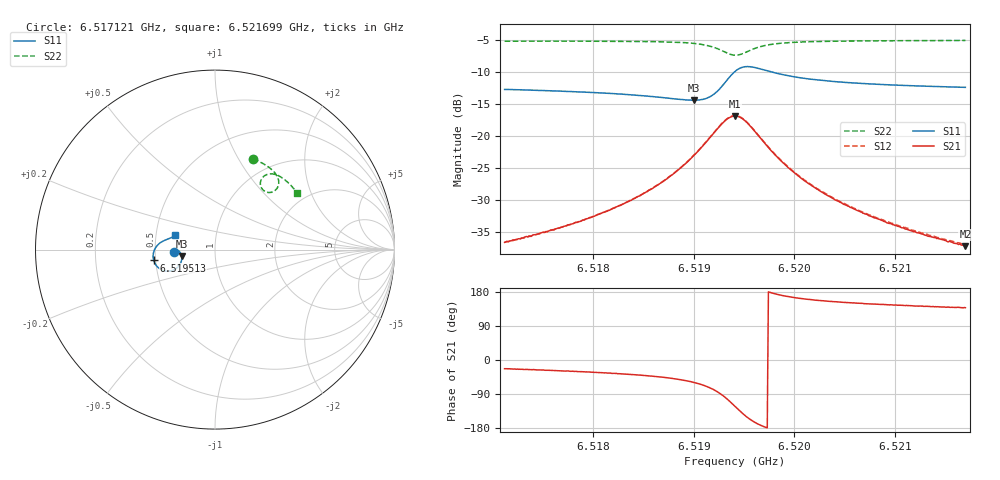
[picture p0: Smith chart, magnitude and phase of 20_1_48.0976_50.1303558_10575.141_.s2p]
#  HZ  S  RI  R  50.00
! Rohde & Schwarz Vector Network Analyzer
! Rohde-Schwarz,ZNB20-2Port,1311601062101988,3.16
! Created: UTC 12/23/2023, 3:36:34 AM
! freq[Hz]  re:S11  im:S11  re:S21  im:S21  re:S12  im:S12  re:S22  im:S22
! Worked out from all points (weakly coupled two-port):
!   401 points, 6.517121 GHz to 6.521699 GHz, reference 50 ohm
!   highest |S21| = -16.92 dB at 6.51941 GHz (marker M1); lowest = -37.3 dB at 6.521699 GHz (marker M2)
!   lowest |S11| = -14.5 dB at 6.518998 GHz (marker M3), VSWR 1.47, Z = 34.2 - j2.49 ohm
!   |S11| at or under -10 dB: start of sweep to 6.519406 GHz; 6.519767 GHz to end of sweep
!   |S22| runs from -7.4 to -5.1 dB; largest |S21 - S12| = 0.0042
!   S11 on the Smith chart (normalised r, x): 6.517121 GHz: 0.63, -0.02; 6.519513 GHz: 0.49, -0.07; 6.521699 GHz: 0.63, +0.10
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6.5171215e9  -0.2298 -0.0146  0.0135 -0.00572  0.0137 -0.00531  0.2127 0.5058
6.5174419e9  -0.2263 -0.01  0.0152 -0.00746  0.0154 -0.00688  0.2362 0.4957
6.5178882e9  -0.2197 -0.00497  0.0186 -0.0111  0.0189 -0.0106  0.2693 0.4786
6.5182888e9  -0.2114 -0.00342  0.0233 -0.0173  0.0238 -0.0165  0.2993 0.4589
6.5184719e9  -0.2062 -0.00491  0.0261 -0.0219  0.027 -0.0212  0.3134 0.4478
6.518655e9  -0.1999 -0.00882  0.0298 -0.0293  0.0307 -0.0284  0.3279 0.4341
6.5188381e9  -0.1924 -0.018  0.0339 -0.0413  0.0353 -0.0404  0.342 0.4158
6.5189983e9  -0.1861 -0.0351  0.036 -0.0596  0.0381 -0.0589  0.3527 0.3927
6.5191013e9  -0.1855 -0.0543  0.0331 -0.0783  0.0358 -0.0779  0.3553 0.3718
6.5191928e9  -0.1933 -0.0796  0.0226 -0.1009  0.0255 -0.1011  0.3495 0.3483
6.5193187e9  -0.2379 -0.1167  -0.023 -0.1303  -0.0195 -0.132  0.3148 0.3194
6.5194103e9  -0.2977 -0.1126  -0.0763 -0.1205  -0.0735 -0.1236  0.273 0.3277
6.519456e9  -0.3235 -0.0932  -0.0972 -0.1007  -0.0951 -0.1041  0.2583 0.3446
6.5195132e9  -0.3414 -0.0605  -0.1096 -0.0703  -0.1084 -0.0741  0.2525 0.3701
6.5196277e9  -0.3385 -0.00436  -0.101 -0.0224  -0.101 -0.0256  0.27 0.4067
6.5197421e9  -0.3191 0.0259  -0.0809 0.000216  -0.0816 -0.00203  0.296 0.4203
6.5199367e9  -0.2912 0.0466  -0.0551 0.0124  -0.0562 0.0109  0.3304 0.4201
6.520177e9  -0.2703 0.0559  -0.0377 0.0146  -0.0386 0.0137  0.3592 0.4089
6.5205089e9  -0.2537 0.0622  -0.0253 0.0136  -0.0261 0.0131  0.3875 0.3901
6.5209437e9  -0.2404 0.0686  -0.0169 0.0117  -0.0176 0.0114  0.4164 0.3642
6.5213328e9  -0.2321 0.0739  -0.0128 0.0102  -0.0134 0.0101  0.4381 0.3407
6.521699e9  -0.2256 0.0789  -0.0102 0.00915  -0.0108 0.00925  0.4564 0.3179
